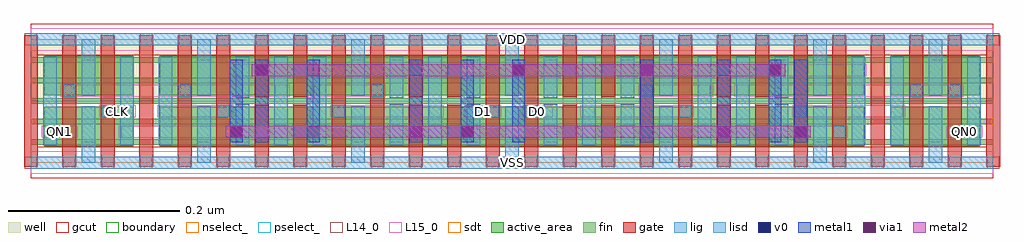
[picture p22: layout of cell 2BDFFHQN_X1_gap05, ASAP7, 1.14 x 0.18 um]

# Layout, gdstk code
import gdstk
lib = gdstk.Library(unit=1e-6, precision=2.5e-10)
def R(c, l, rs):  # rectangles x0, y0, x1, y1
    for r in rs: c.add(gdstk.rectangle(r[:2], r[2:], *l))
def A(c, l, x, y, w, h, nx, ny, dx, dy):  # array of equal rectangles
    R(c, l, [(x+i*dx, y+j*dy, x+i*dx+w, y+j*dy+h) for i in range(nx) for j in range(ny)])
well = (1, 0)
fin = (2, 0)
gate = (7, 0)
gcut = (10, 0)
active_area = (11, 0)
nselect_ = (12, 0)
pselect_ = (13, 0)
L14_0 = (14, 0)
L15_0 = (15, 0)
lig = (16, 0)
lisd = (17, 0)
v0 = (18, 0)
metal1 = (19, 0)
metal2 = (20, 0)
via1 = (21, 0)
sdt = (88, 0)
boundary = (100, 0)

c_2bdffhqn_x1_gap05 = lib.new_cell('2BDFFHQN_X1_gap05')
R(c_2bdffhqn_x1_gap05, well, [(0,0.072,1.125,0.144)])
A(c_2bdffhqn_x1_gap05, fin, 0, 0.021, 1.125, 0.006, 1, 5, 0, 0.024)
A(c_2bdffhqn_x1_gap05, gate, -0.008, -0.005, 0.016, 0.154, 6, 1, 0.045, 0)
A(c_2bdffhqn_x1_gap05, gate, 0.892, -0.005, 0.016, 0.154, 6, 1, 0.045, 0)
R(c_2bdffhqn_x1_gap05, gate, [(0.262,-0.005,0.278,0.067), (0.307,-0.005,0.323,0.067), (0.352,-0.005,0.368,0.149), (0.397,-0.005,0.413,0.149), (0.442,-0.005,0.458,0.067), (0.487,-0.005,0.503,0.067), (0.532,-0.005,0.548,0.149), (0.577,-0.005,0.593,0.149), (0.622,-0.005,0.638,0.067), (0.667,-0.005,0.683,0.067), (0.712,-0.005,0.728,0.149), (0.757,-0.005,0.773,0.149), (0.802,-0.005,0.818,0.067), (0.847,-0.005,0.863,0.067), (0.262,0.077,0.278,0.149), (0.307,0.077,0.323,0.149), (0.442,0.077,0.458,0.149), (0.487,0.077,0.503,0.149), (0.622,0.077,0.638,0.149), (0.667,0.077,0.683,0.149), (0.802,0.077,0.818,0.149), (0.847,0.077,0.863,0.149)])
R(c_2bdffhqn_x1_gap05, gcut, [(0,-0.0185,1.125,0.0185), (-0.008,-0.005,0.008,0.149), (1.117,-0.005,1.133,0.149), (0.262,0.067,0.278,0.077), (0.307,0.067,0.323,0.077), (0.442,0.067,0.458,0.077), (0.487,0.067,0.503,0.077), (0.622,0.067,0.638,0.077), (0.667,0.067,0.683,0.077), (0.802,0.067,0.818,0.077), (0.847,0.067,0.863,0.077), (0,0.1255,1.125,0.1625)])
A(c_2bdffhqn_x1_gap05, active_area, 0.1505, 0.019, 0.059, 0.046, 18, 2, 0.045, 0.06)
R(c_2bdffhqn_x1_gap05, active_area, [(0.0155,0.019,0.0745,0.065), (0.0605,0.019,0.1195,0.065), (1.0055,0.019,1.0645,0.065), (1.0505,0.019,1.1095,0.065), (0.0155,0.079,0.0745,0.125), (0.0605,0.079,0.1195,0.125), (1.0055,0.079,1.0645,0.125), (1.0505,0.079,1.1095,0.125)])
R(c_2bdffhqn_x1_gap05, nselect_, [(0,0,1.125,0.072)])
R(c_2bdffhqn_x1_gap05, pselect_, [(0,0.072,1.125,0.144)])
A(c_2bdffhqn_x1_gap05, L14_0, -0.007, -0.007, 0.014, 0.014, 26, 2, 0.045, 0.144)
A(c_2bdffhqn_x1_gap05, L14_0, 0.083, 0.053, 0.014, 0.014, 3, 1, 0.0675, 0)
R(c_2bdffhqn_x1_gap05, L14_0, [(0.0155,0.029,0.0295,0.043), (0.1055,0.029,0.1195,0.043), (0.263,0.029,0.277,0.043), (0.308,0.029,0.322,0.043), (0.443,0.029,0.457,0.043), (0.488,0.029,0.502,0.043), (0.623,0.029,0.637,0.043), (0.668,0.029,0.682,0.043), (0.803,0.029,0.817,0.043), (0.848,0.029,0.862,0.043), (0.938,0.029,0.952,0.043), (1.0955,0.029,1.1095,0.043), (0.353,0.053,0.367,0.067), (0.4655,0.053,0.4795,0.067), (0.533,0.053,0.547,0.067), (0.578,0.053,0.592,0.067), (0.6455,0.053,0.6595,0.067), (0.758,0.053,0.772,0.067), (0.893,0.053,0.907,0.067), (1.0055,0.053,1.0195,0.067), (0.038,0.077,0.052,0.091), (0.173,0.077,0.187,0.091), (0.2855,0.077,0.2995,0.091), (0.3305,0.077,0.3445,0.091), (0.398,0.077,0.412,0.091), (0.713,0.077,0.727,0.091), (0.7805,0.077,0.7945,0.091), (0.8255,0.077,0.8395,0.091), (1.028,0.077,1.042,0.091), (1.073,0.077,1.087,0.091), (0.263,0.101,0.277,0.115), (0.308,0.101,0.322,0.115), (0.443,0.101,0.457,0.115), (0.488,0.101,0.502,0.115), (0.623,0.101,0.637,0.115), (0.668,0.101,0.682,0.115), (0.803,0.101,0.817,0.115), (0.848,0.101,0.862,0.115), (0.9605,0.101,0.9745,0.115)])
A(c_2bdffhqn_x1_gap05, L15_0, 0.305, 0.029, 0.155, 0.014, 3, 2, 0.18, 0.072)
R(c_2bdffhqn_x1_gap05, L15_0, [(0,-0.013,1.125,0.013), (0.0125,0.029,0.055,0.043), (0.1025,0.029,0.28,0.043), (0.845,0.029,0.955,0.043), (1.07,0.029,1.1125,0.043), (0.08,0.053,0.1225,0.067), (0.1475,0.053,0.235,0.067), (0.35,0.053,0.4825,0.067), (0.5075,0.053,0.55,0.067), (0.575,0.053,0.61,0.067), (0.6425,0.053,0.775,0.067), (0.89,0.053,1.0225,0.067), (0.035,0.077,0.3025,0.091), (0.3275,0.077,0.415,0.091), (0.71,0.077,0.7975,0.091), (0.8225,0.077,1.09,0.091), (0.2375,0.101,0.28,0.115), (0.845,0.101,0.9775,0.115), (0,0.131,1.125,0.157)])
A(c_2bdffhqn_x1_gap05, lig, 0.083, 0.053, 0.014, 0.014, 3, 1, 0.135, 0)
A(c_2bdffhqn_x1_gap05, lig, 0.398, 0.077, 0.014, 0.014, 3, 1, 0.315, 0)
R(c_2bdffhqn_x1_gap05, lig, [(0,-0.007,1.125,0.007), (0.263,0.029,0.277,0.043), (0.308,0.029,0.322,0.043), (0.443,0.029,0.457,0.043), (0.488,0.029,0.502,0.043), (0.623,0.029,0.637,0.043), (0.668,0.029,0.682,0.043), (0.803,0.029,0.817,0.043), (0.848,0.029,0.862,0.043), (0.938,0.029,0.952,0.043), (0.533,0.053,0.547,0.067), (0.578,0.053,0.592,0.067), (0.758,0.053,0.772,0.067), (0.893,0.053,0.907,0.067), (0.038,0.077,0.052,0.091), (0.173,0.077,0.187,0.091), (1.073,0.077,1.087,0.091), (0.263,0.101,0.277,0.115), (0.308,0.101,0.322,0.115), (0.443,0.101,0.457,0.115), (0.488,0.101,0.502,0.115), (0.623,0.101,0.637,0.115), (0.668,0.101,0.682,0.115), (0.803,0.101,0.817,0.115), (0.848,0.101,0.862,0.115), (0,0.137,1.125,0.151)])
R(c_2bdffhqn_x1_gap05, lisd, [(0.0595,0,0.0755,0.066), (0.0595,0,0.0755,0.066), (0.1945,0,0.2105,0.066), (0.1945,0,0.2105,0.066), (0.3745,0,0.3905,0.066), (0.3745,0,0.3905,0.066), (0.5545,0,0.5705,0.066), (0.5545,0,0.5705,0.066), (0.7345,0,0.7505,0.066), (0.7345,0,0.7505,0.066), (0.9145,0,0.9305,0.066), (0.9145,0,0.9305,0.066), (1.0495,0,1.0655,0.066), (1.0495,0,1.0655,0.066), (0.0145,0.02,0.0305,0.124), (0.1045,0.02,0.1205,0.124), (0.1495,0.02,0.1655,0.124), (0.2395,0.02,0.2555,0.068), (0.2395,0.02,0.2555,0.068), (0.2845,0.02,0.3005,0.124), (0.2845,0.02,0.3005,0.124), (0.3295,0.02,0.3455,0.124), (0.3295,0.02,0.3455,0.124), (0.4195,0.02,0.4355,0.068), (0.4195,0.02,0.4355,0.068), (0.4645,0.02,0.4805,0.124), (0.4645,0.02,0.4805,0.124), (0.5095,0.02,0.5255,0.068), (0.5095,0.02,0.5255,0.068), (0.5995,0.02,0.6155,0.068), (0.5995,0.02,0.6155,0.068), (0.6445,0.02,0.6605,0.124), (0.6445,0.02,0.6605,0.124), (0.6895,0.02,0.7055,0.068), (0.6895,0.02,0.7055,0.068), (0.7795,0.02,0.7955,0.124), (0.7795,0.02,0.7955,0.124), (0.8245,0.02,0.8405,0.124), (0.8245,0.02,0.8405,0.124), (0.8695,0.02,0.8855,0.068), (0.8695,0.02,0.8855,0.068), (0.9595,0.02,0.9755,0.124), (1.0045,0.02,1.0205,0.124), (1.0945,0.02,1.1105,0.124), (0.2395,0.076,0.2555,0.124), (0.2395,0.076,0.2555,0.124), (0.4195,0.076,0.4355,0.124), (0.4195,0.076,0.4355,0.124), (0.5095,0.076,0.5255,0.124), (0.5095,0.076,0.5255,0.124), (0.5995,0.076,0.6155,0.124), (0.5995,0.076,0.6155,0.124), (0.6895,0.076,0.7055,0.124), (0.6895,0.076,0.7055,0.124), (0.8695,0.076,0.8855,0.124), (0.8695,0.076,0.8855,0.124), (0.0595,0.078,0.0755,0.144), (0.0595,0.078,0.0755,0.144), (0.1945,0.078,0.2105,0.144), (0.1945,0.078,0.2105,0.144), (0.3745,0.078,0.3905,0.144), (0.3745,0.078,0.3905,0.144), (0.5545,0.078,0.5705,0.144), (0.5545,0.078,0.5705,0.144), (0.7345,0.078,0.7505,0.144), (0.7345,0.078,0.7505,0.144), (0.9145,0.078,0.9305,0.144), (0.9145,0.078,0.9305,0.144), (1.0495,0.078,1.0655,0.144), (1.0495,0.078,1.0655,0.144)])
R(c_2bdffhqn_x1_gap05, v0, [(0.233,0.029,0.247,0.043), (0.323,0.029,0.337,0.043), (0.503,0.029,0.517,0.043), (0.713,0.029,0.727,0.043), (0.893,0.029,0.907,0.043), (0.263,0.101,0.277,0.115), (0.443,0.101,0.457,0.115), (0.563,0.101,0.577,0.115), (0.803,0.101,0.817,0.115), (0.863,0.101,0.877,0.115)])
A(c_2bdffhqn_x1_gap05, metal1, 0.4425, 0.024, 0.015, 0.096, 3, 1, 0.06, 0)
R(c_2bdffhqn_x1_gap05, metal1, [(0.2325,0.024,0.2475,0.12), (0.2625,0.024,0.2775,0.12), (0.3225,0.024,0.3375,0.12), (0.7125,0.024,0.7275,0.12), (0.8025,0.024,0.8175,0.12), (0.8625,0.024,0.8775,0.12), (0.8925,0.024,0.9075,0.12)])
R(c_2bdffhqn_x1_gap05, metal2, [(0.228,0.029,0.912,0.043), (0.258,0.101,0.882,0.115)])
A(c_2bdffhqn_x1_gap05, via1, 0.563, 0.101, 0.014, 0.014, 3, 1, 0.15, 0)
R(c_2bdffhqn_x1_gap05, via1, [(0.233,0.029,0.247,0.043), (0.443,0.029,0.457,0.043), (0.503,0.029,0.517,0.043), (0.803,0.029,0.817,0.043), (0.893,0.029,0.907,0.043), (0.263,0.101,0.277,0.115), (0.323,0.101,0.337,0.115)])
R(c_2bdffhqn_x1_gap05, sdt, [(0.0145,0.02,0.0305,0.124), (0.1045,0.02,0.1205,0.124), (0.1495,0.02,0.1655,0.124), (0.2845,0.02,0.3005,0.124), (0.2845,0.02,0.3005,0.124), (0.3295,0.02,0.3455,0.124), (0.3295,0.02,0.3455,0.124), (0.4645,0.02,0.4805,0.124), (0.4645,0.02,0.4805,0.124), (0.6445,0.02,0.6605,0.124), (0.6445,0.02,0.6605,0.124), (0.7795,0.02,0.7955,0.124), (0.7795,0.02,0.7955,0.124), (0.8245,0.02,0.8405,0.124), (0.8245,0.02,0.8405,0.124), (0.9595,0.02,0.9755,0.124), (1.0045,0.02,1.0205,0.124), (1.0945,0.02,1.1105,0.124), (0.0595,0.024,0.0755,0.066), (0.0595,0.024,0.0755,0.066), (0.1945,0.024,0.2105,0.066), (0.1945,0.024,0.2105,0.066), (0.2395,0.024,0.2555,0.066), (0.2395,0.024,0.2555,0.066), (0.3745,0.024,0.3905,0.066), (0.3745,0.024,0.3905,0.066), (0.4195,0.024,0.4355,0.066), (0.4195,0.024,0.4355,0.066), (0.5095,0.024,0.5255,0.066), (0.5095,0.024,0.5255,0.066), (0.5545,0.024,0.5705,0.066), (0.5545,0.024,0.5705,0.066), (0.5995,0.024,0.6155,0.066), (0.5995,0.024,0.6155,0.066), (0.6895,0.024,0.7055,0.066), (0.6895,0.024,0.7055,0.066), (0.7345,0.024,0.7505,0.066), (0.7345,0.024,0.7505,0.066), (0.8695,0.024,0.8855,0.066), (0.8695,0.024,0.8855,0.066), (0.9145,0.024,0.9305,0.066), (0.9145,0.024,0.9305,0.066), (1.0495,0.024,1.0655,0.066), (1.0495,0.024,1.0655,0.066), (0.0595,0.078,0.0755,0.12), (0.0595,0.078,0.0755,0.12), (0.1945,0.078,0.2105,0.12), (0.1945,0.078,0.2105,0.12), (0.2395,0.078,0.2555,0.12), (0.2395,0.078,0.2555,0.12), (0.3745,0.078,0.3905,0.12), (0.3745,0.078,0.3905,0.12), (0.4195,0.078,0.4355,0.12), (0.4195,0.078,0.4355,0.12), (0.5095,0.078,0.5255,0.12), (0.5095,0.078,0.5255,0.12), (0.5545,0.078,0.5705,0.12), (0.5545,0.078,0.5705,0.12), (0.5995,0.078,0.6155,0.12), (0.5995,0.078,0.6155,0.12), (0.6895,0.078,0.7055,0.12), (0.6895,0.078,0.7055,0.12), (0.7345,0.078,0.7505,0.12), (0.7345,0.078,0.7505,0.12), (0.8695,0.078,0.8855,0.12), (0.8695,0.078,0.8855,0.12), (0.9145,0.078,0.9305,0.12), (0.9145,0.078,0.9305,0.12), (1.0495,0.078,1.0655,0.12), (1.0495,0.078,1.0655,0.12)])
R(c_2bdffhqn_x1_gap05, boundary, [(0,0,1.125,0.144)])
c_2bdffhqn_x1_gap05.add(gdstk.Label('VDD', (0.5625,0.144), layer=1, texttype=251))
c_2bdffhqn_x1_gap05.add(gdstk.Label('VSS', (0.5625,0), layer=3, texttype=251))
c_2bdffhqn_x1_gap05.add(gdstk.Label('QN1', (0.0338,0.036), layer=15, texttype=251))
c_2bdffhqn_x1_gap05.add(gdstk.Label('CLK', (0.1013,0.06), layer=15, texttype=251))
c_2bdffhqn_x1_gap05.add(gdstk.Label('D1', (0.5288,0.06), layer=15, texttype=251))
c_2bdffhqn_x1_gap05.add(gdstk.Label('D0', (0.5925,0.06), layer=15, texttype=251))
c_2bdffhqn_x1_gap05.add(gdstk.Label('QN0', (1.0913,0.036), layer=15, texttype=251))
c_2bdffhqn_x1_gap05.add(gdstk.Label('VSS', (0.5625,0), layer=15, texttype=251))
c_2bdffhqn_x1_gap05.add(gdstk.Label('VDD', (0.5625,0.144), layer=15, texttype=251))

lib.write_gds('2BDFFHQN_X1_gap05.gds')
